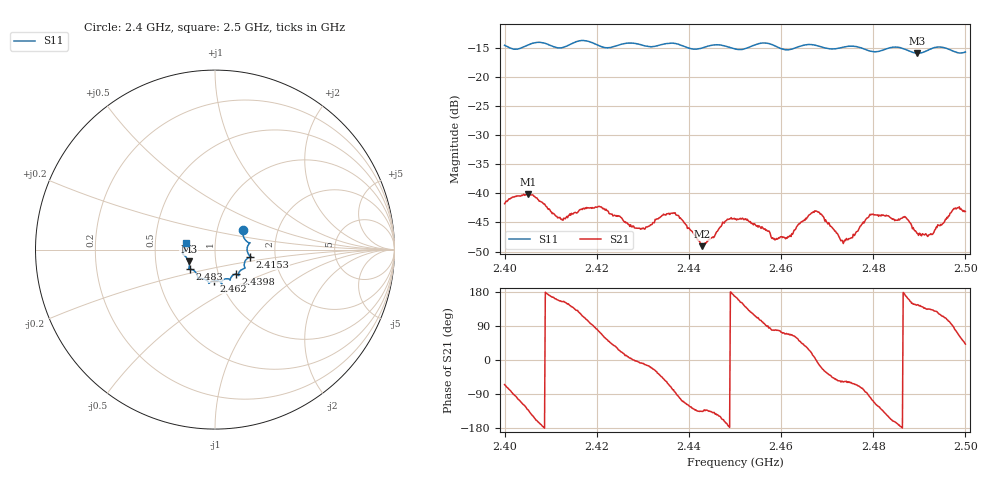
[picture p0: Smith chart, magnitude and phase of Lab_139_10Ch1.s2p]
# Hz S RI R 50
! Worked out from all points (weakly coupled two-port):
!   601 points, 2.4 GHz to 2.5 GHz, reference 50 ohm
!   highest |S21| = -40.08 dB at 2.405 GHz (marker M1); lowest = -49.1 dB at 2.4428 GHz (marker M2)
!   lowest |S11| = -15.9 dB at 2.4895 GHz (marker M3), VSWR 1.38, Z = 36.9 - j4.98 ohm
!   |S11| at or under -10 dB: start of sweep to end of sweep
!   S12 and S22 are empty: the file has one direction only
!   S11 on the Smith chart (normalised r, x): 2.4 GHz: 1.33, +0.29; 2.4153 GHz: 1.48, -0.12; 2.4398 GHz: 1.21, -0.34; 2.462 GHz: 0.93, -0.33; 2.483 GHz: 0.74, -0.17; 2.5 GHz: 0.72, +0.06
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2.4e9  0.1551 0.1065  0.00347 -0.00738  0 0  0 0
2.405e9  0.1841 0.0405  -0.00647 -0.00751  0 0  0 0
2.412167e9  0.1787 -0.00249  -0.00553 0.00244  0 0  0 0
2.415333e9  0.1968 -0.0387  -0.00469 0.00503  0 0  0 0
2.416667e9  0.2023 -0.0429  -0.00358 0.00638  0 0  0 0
2.420667e9  0.178 -0.0508  0.00225 0.00736  0 0  0 0
2.429e9  0.1616 -0.1053  0.00499 -0.000447  0 0  0 0
2.433333e9  0.1314 -0.1337  0.00491 -0.00351  0 0  0 0
2.436667e9  0.1326 -0.1442  0.00134 -0.00667  0 0  0 0
2.439833e9  0.1153 -0.1366  -0.00245 -0.0044  0 0  0 0
2.442833e9  0.0899 -0.1536  -0.0025 -0.00247  0 0  0 0
2.45e9  0.0647 -0.1626  -0.00587 0.00125  0 0  0 0
2.458333e9  0.035 -0.1854  0.000777 0.00399  0 0  0 0
2.462e9  -0.00524 -0.1731  0.00168 0.00403  0 0  0 0
2.466667e9  -0.0342 -0.1876  0.0065 0.00207  0 0  0 0
2.4735e9  -0.084 -0.1605  0.00196 -0.00315  0 0  0 0
2.4795e9  -0.1065 -0.1288  -0.00125 -0.00641  0 0  0 0
2.483e9  -0.1377 -0.1096  -0.00532 -0.00357  0 0  0 0
2.483333e9  -0.1403 -0.1094  -0.00555 -0.00319  0 0  0 0
2.487e9  -0.1435 -0.0971  -0.00615 0.00116  0 0  0 0
2.4895e9  -0.1464 -0.0657  -0.00373 0.00258  0 0  0 0
2.5e9  -0.1598 0.0392  0.0052 0.00467  0 0  0 0
